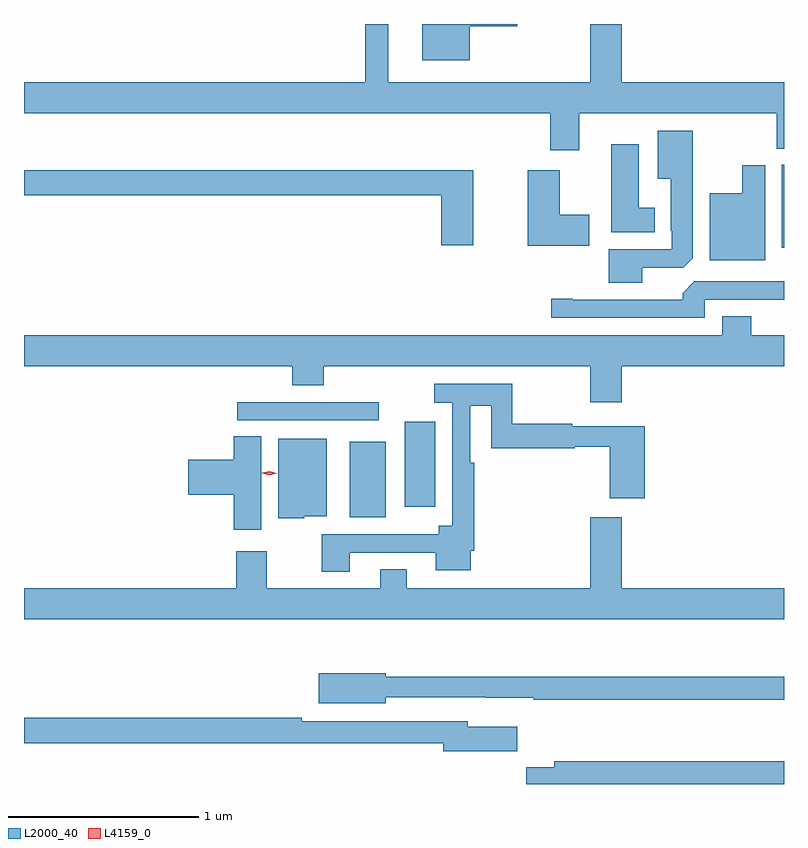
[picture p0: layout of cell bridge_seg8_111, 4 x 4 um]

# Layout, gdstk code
import gdstk
lib = gdstk.Library(unit=1e-6, precision=1e-09)
def R(c, l, rs):  # rectangles x0, y0, x1, y1
    for r in rs: c.add(gdstk.rectangle(r[:2], r[2:], *l))
def P(c, l, *ps):  # polygons
    for p in ps: c.add(gdstk.Polygon(p, *l))
L2000_40 = (2000, 40)
L4159_0 = (4159, 0)

bridge_seg8_111 = lib.new_cell('bridge_seg8_111')
R(bridge_seg8_111, L2000_40, [(763.142,1138.349,763.33,1138.747), (763.43,1138.404,763.591,1138.852), (762.549,1138.86,763.294,1138.956), (765.416,1139.768,765.427,1140.204)])
P(bridge_seg8_111, L2000_40, [(763.774,1140.934),(764.023,1140.934),(764.023,1140.946),(763.523,1140.946),(763.523,1140.755),(763.774,1140.755)],
  [(764.198,1140.282),(764.35,1140.282),(764.35,1140.476),(765.388,1140.476),(765.388,1140.289),(765.427,1140.289),(765.427,1140.64),(764.572,1140.64),(764.572,1140.946),(764.408,1140.946),(764.408,1140.64),(763.345,1140.64),(763.345,1140.946),(763.224,1140.946),(763.224,1140.64),(761.427,1140.64),(761.427,1140.476),(764.198,1140.476)],
  [(764.68,1139.664),(764.898,1139.664),(764.947,1139.713),(764.947,1140.385),(764.762,1140.385),(764.762,1140.131),(764.831,1140.131),(764.831,1139.857),(764.835,1139.857),(764.835,1139.76),(764.504,1139.76),(764.504,1139.585),(764.68,1139.585)],
  [(764.746,1139.98),(764.662,1139.98),(764.662,1140.313),(764.519,1140.313),(764.519,1139.849),(764.746,1139.849)],
  [(765.328,1140.202),(765.206,1140.202),(765.206,1140.055),(765.035,1140.055),(765.035,1139.702),(765.328,1139.702)],
  [(764.401,1139.943),(764.248,1139.943),(764.248,1140.175),(764.078,1140.175),(764.078,1139.78),(764.401,1139.78)],
  [(763.792,1140.175),(761.427,1140.175),(761.427,1140.046),(763.622,1140.046),(763.622,1139.781),(763.792,1139.781)],
  [(765.009,1139.496),(765.427,1139.496),(765.427,1139.592),(764.955,1139.592),(764.894,1139.53),(764.894,1139.496),(764.314,1139.496),(764.314,1139.501),(764.202,1139.501),(764.202,1139.4),(765.009,1139.4)],
  [(764.572,1139.144),(765.427,1139.144),(765.427,1139.308),(765.254,1139.308),(765.254,1139.407),(765.101,1139.407),(765.101,1139.308),(761.427,1139.308),(761.427,1139.144),(762.839,1139.144),(762.839,1139.045),(763.004,1139.045),(763.004,1139.144),(764.408,1139.144),(764.408,1138.956),(764.572,1138.956)],
  [(763.141,1138.164),(763.595,1138.164),(763.595,1138.07),(763.777,1138.07),(763.777,1138.174),(763.796,1138.174),(763.796,1138.637),(763.776,1138.637),(763.776,1138.936),(763.887,1138.936),(763.887,1138.714),(764.326,1138.714),(764.326,1138.722),(764.51,1138.722),(764.51,1138.449),(764.693,1138.449),(764.693,1138.83),(764.312,1138.83),(764.312,1138.843),(763.996,1138.843),(763.996,1139.052),(763.587,1139.052),(763.587,1138.952),(763.68,1138.952),(763.68,1138.306),(763.61,1138.306),(763.61,1138.26),(762.994,1138.26),(762.994,1138.062),(763.141,1138.062)],
  [(762.676,1138.775),(762.53,1138.775),(762.53,1138.652),(762.291,1138.652),(762.291,1138.469),(762.53,1138.469),(762.53,1138.284),(762.676,1138.284)],
  [(762.903,1138.355),(763.021,1138.355),(763.021,1138.762),(762.764,1138.762),(762.764,1138.346),(762.903,1138.346)],
  [(765.427,1137.976),(764.572,1137.976),(764.572,1138.351),(764.408,1138.351),(764.408,1137.976),(763.441,1137.976),(763.441,1138.075),(763.301,1138.075),(763.301,1137.976),(762.705,1137.976),(762.705,1138.171),(762.545,1138.171),(762.545,1137.976),(761.427,1137.976),(761.427,1137.812),(765.427,1137.812)],
  [(763.33,1137.402),(763.858,1137.402),(763.858,1137.401),(764.11,1137.401),(764.11,1137.39),(765.427,1137.39),(765.427,1137.511),(763.33,1137.511),(763.33,1137.529),(762.978,1137.529),(762.978,1137.371),(763.33,1137.371)],
  [(764.023,1137.247),(763.762,1137.247),(763.762,1137.276),(762.89,1137.276),(762.89,1137.296),(761.427,1137.296),(761.427,1137.16),(763.634,1137.16),(763.634,1137.118),(764.023,1137.118)],
  [(765.427,1137.067),(764.219,1137.067),(764.219,1137.033),(764.07,1137.033),(764.07,1136.946),(765.427,1136.946)])
P(bridge_seg8_111, L4159_0, [(762.719,1138.572),(762.682,1138.582),(762.682,1138.583),(762.682,1138.583),(762.72,1138.592),(762.756,1138.582),(762.756,1138.581),(762.756,1138.581)])

lib.write_gds('bridge_seg8_111.gds')
